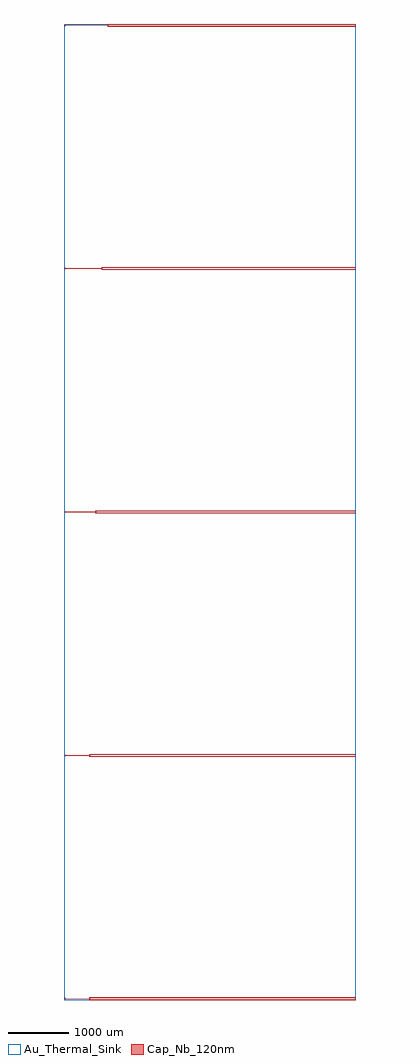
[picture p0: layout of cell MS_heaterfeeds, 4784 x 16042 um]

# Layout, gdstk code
import gdstk
lib = gdstk.Library(unit=1e-6, precision=1e-09)
def R(c, l, rs):  # rectangles x0, y0, x1, y1
    for r in rs: c.add(gdstk.rectangle(r[:2], r[2:], *l))
def P(c, l, *ps):  # polygons
    for p in ps: c.add(gdstk.Polygon(p, *l))
Cap_Nb_120nm = (6, 0)
Au_Thermal_Sink = (12, 0)

ms_heaterfeeds = lib.new_cell('MS_heaterfeeds')
P(ms_heaterfeeds, Cap_Nb_120nm, [(-1982,-8021),(-1982,-8003),(-2378,-8003),(-2378,-8012.5),(-2392,-8012.5),(-2392,-8010.5),(-2380,-8010.5),(-2380,-8001),(-1972,-8001),(-1972,-8011),(2392,-8011),(2392,-8021)],
  [(-2380,-7999),(-2380,-7989.5),(-2392,-7989.5),(-2392,-7987.5),(-2378,-7987.5),(-2378,-7997),(-1982,-7997),(-1982,-7979),(2392,-7979),(2392,-7989),(-1972,-7989),(-1972,-7999)],
  [(-1982,-4021),(-1982,-4003),(-2378,-4003),(-2378,-4012.5),(-2392,-4012.5),(-2392,-4010.5),(-2380,-4010.5),(-2380,-4001),(-1972,-4001),(-1972,-4011),(2392,-4011),(2392,-4021)],
  [(-2380,-3999),(-2380,-3989.5),(-2392,-3989.5),(-2392,-3987.5),(-2378,-3987.5),(-2378,-3997),(-1982,-3997),(-1982,-3979),(2392,-3979),(2392,-3989),(-1972,-3989),(-1972,-3999)],
  [(-1882,-21),(-1882,-3),(-2378,-3),(-2378,-12.5),(-2392,-12.5),(-2392,-10.5),(-2380,-10.5),(-2380,-1),(-1872,-1),(-1872,-11),(2392,-11),(2392,-21)],
  [(-2380,1),(-2380,10.5),(-2392,10.5),(-2392,12.5),(-2378,12.5),(-2378,3),(-1882,3),(-1882,21),(2392,21),(2392,11),(-1872,11),(-1872,1)],
  [(-1782,3979),(-1782,3997),(-2378,3997),(-2378,3987.5),(-2392,3987.5),(-2392,3989.5),(-2380,3989.5),(-2380,3999),(-1772,3999),(-1772,3989),(2392,3989),(2392,3979)],
  [(-2380,4001),(-2380,4010.5),(-2392,4010.5),(-2392,4012.5),(-2378,4012.5),(-2378,4003),(-1782,4003),(-1782,4021),(2392,4021),(2392,4011),(-1772,4011),(-1772,4001)],
  [(-1682,7979),(-1682,7997),(-2378,7997),(-2378,7987.5),(-2392,7987.5),(-2392,7989.5),(-2380,7989.5),(-2380,7999),(-1672,7999),(-1672,7989),(2392,7989),(2392,7979)],
  [(-2380,8001),(-2380,8010.5),(-2392,8010.5),(-2392,8012.5),(-2378,8012.5),(-2378,8003),(-1682,8003),(-1682,8021),(2392,8021),(2392,8011),(-1672,8011),(-1672,8001)])
R(ms_heaterfeeds, Au_Thermal_Sink, [(-2392,-8021,2392,8021)])

lib.write_gds('MS_heaterfeeds.gds')
